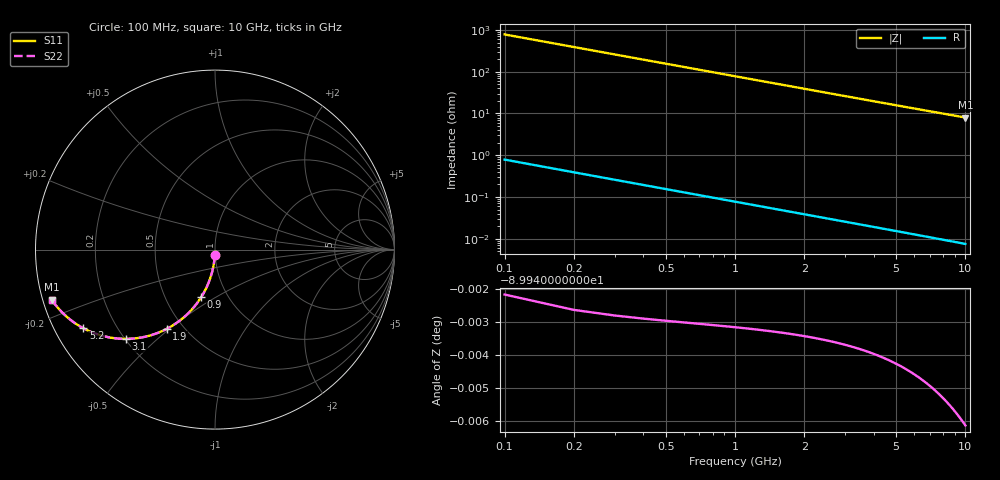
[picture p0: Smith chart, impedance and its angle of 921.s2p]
# Hz S RI R 50.00
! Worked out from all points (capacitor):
!   100 points, 100 MHz to 10 GHz, reference 50 ohm
!   read as one part in shunt: C = 2.04 pF near 100 MHz
!   lowest |Z| = 8.01 ohm at 10 GHz (marker M1)
!   S11 on the Smith chart (normalised r, x): 100 MHz: 1.00, -0.06; 900 MHz: 0.75, -0.43; 1.9 GHz: 0.40, -0.49; 3.1 GHz: 0.20, -0.40; 5.2 GHz: 0.08, -0.27; 10 GHz: 0.03, -0.15
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1e8  -0.00104 -0.0319  0.9989 -0.0321  0.9989 -0.0321  -0.00104 -0.0319
2e8  -0.00414 -0.0637  0.9958 -0.064  0.9958 -0.064  -0.00414 -0.0637
3e8  -0.00923 -0.095  0.9907 -0.0954  0.9907 -0.0954  -0.00923 -0.095
4e8  -0.0163 -0.1258  0.9837 -0.1263  0.9837 -0.1263  -0.0163 -0.1258
5e8  -0.0252 -0.1558  0.9748 -0.1565  0.9748 -0.1565  -0.0252 -0.1558
6e8  -0.0358 -0.1849  0.9642 -0.1857  0.9642 -0.1857  -0.0358 -0.1849
7e8  -0.0481 -0.213  0.9519 -0.2139  0.9519 -0.2139  -0.0481 -0.213
9e8  -0.0769 -0.2654  0.923 -0.2666  0.923 -0.2666  -0.0769 -0.2654
1.1e9  -0.1106 -0.3125  0.8893 -0.3139  0.8893 -0.3139  -0.1106 -0.3125
1.3e9  -0.1479 -0.3537  0.8521 -0.3554  0.8521 -0.3554  -0.1479 -0.3537
1.5e9  -0.1876 -0.3889  0.8124 -0.3909  0.8124 -0.3909  -0.1876 -0.3889
1.8e9  -0.2493 -0.4309  0.7506 -0.4333  0.7506 -0.4333  -0.2493 -0.4309
1.9e9  -0.27 -0.4422  0.7299 -0.4447  0.7299 -0.4447  -0.27 -0.4422
2.5e9  -0.39 -0.4856  0.61 -0.4889  0.61 -0.4889  -0.39 -0.4856
3.1e9  -0.4952 -0.4974  0.5047 -0.5015  0.5047 -0.5015  -0.4952 -0.4974
3.4e9  -0.5411 -0.4955  0.4588 -0.5001  0.4588 -0.5001  -0.5411 -0.4955
4.2e9  -0.6423 -0.476  0.3576 -0.4816  0.3576 -0.4816  -0.6423 -0.476
5.1e9  -0.7255 -0.4423  0.2745 -0.4492  0.2745 -0.4492  -0.7255 -0.4423
5.2e9  -0.7331 -0.4383  0.2668 -0.4453  0.2668 -0.4453  -0.7331 -0.4383
6.7e9  -0.8198 -0.3793  0.1801 -0.3883  0.1801 -0.3883  -0.8198 -0.3793
8.4e9  -0.8772 -0.3219  0.1227 -0.3334  0.1227 -0.3334  -0.8772 -0.3219
1e10  -0.9101 -0.2786  0.0898 -0.2923  0.0898 -0.2923  -0.9101 -0.2786
